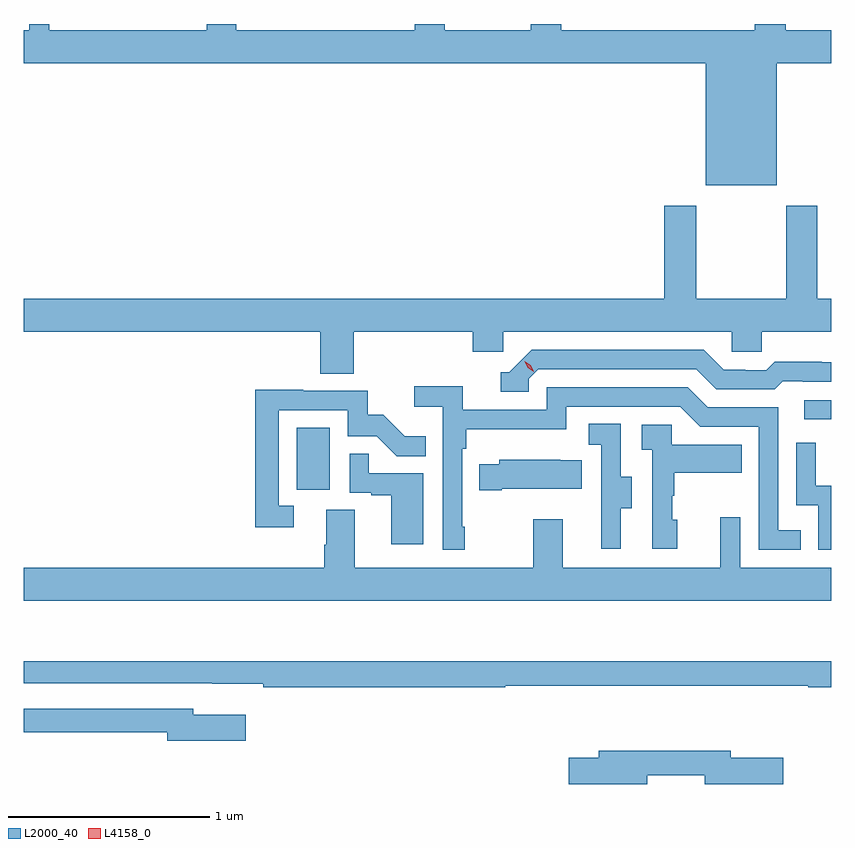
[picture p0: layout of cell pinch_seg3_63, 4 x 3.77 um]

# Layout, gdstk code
import gdstk
lib = gdstk.Library(unit=1e-6, precision=1e-09)
def R(c, l, rs):  # rectangles x0, y0, x1, y1
    for r in rs: c.add(gdstk.rectangle(r[:2], r[2:], *l))
def P(c, l, *ps):  # polygons
    for p in ps: c.add(gdstk.Polygon(p, *l))
L2000_40 = (2000, 40)
L4158_0 = (4158, 0)

pinch_seg3_63 = lib.new_cell('pinch_seg3_63')
R(pinch_seg3_63, L2000_40, [(1025.126,729.438,1025.29,729.745), (1027.641,729.786,1027.774,729.882)])
P(pinch_seg3_63, L2000_40, [(1027.504,731.552),(1027.774,731.552),(1027.774,731.716),(1027.55,731.716),(1027.55,731.746),(1027.397,731.746),(1027.397,731.716),(1026.437,731.716),(1026.437,731.746),(1026.286,731.746),(1026.286,731.716),(1025.859,731.716),(1025.859,731.746),(1025.711,731.746),(1025.711,731.716),(1024.827,731.716),(1024.827,731.746),(1024.679,731.746),(1024.679,731.716),(1023.899,731.716),(1023.899,731.746),(1023.801,731.746),(1023.801,731.716),(1023.774,731.716),(1023.774,731.552),(1027.154,731.552),(1027.154,730.946),(1027.504,730.946)],
  [(1025.408,730.22),(1025.999,730.22),(1025.999,730.122),(1026.15,730.122),(1026.15,730.22),(1027.281,730.22),(1027.281,730.122),(1027.431,730.122),(1027.431,730.22),(1027.774,730.22),(1027.774,730.384),(1027.707,730.384),(1027.707,730.846),(1027.552,730.846),(1027.552,730.384),(1027.107,730.384),(1027.107,730.846),(1026.947,730.846),(1026.947,730.384),(1023.774,730.384),(1023.774,730.22),(1025.243,730.22),(1025.243,730.012),(1025.408,730.012)],
  [(1026.276,729.987),(1026.324,730.035),(1027.107,730.035),(1027.206,729.936),(1027.495,729.936),(1027.534,729.975),(1027.633,729.975),(1027.633,729.972),(1027.774,729.972),(1027.774,730.069),(1027.728,730.069),(1027.728,730.072),(1027.495,730.072),(1027.453,730.029),(1027.35,730.029),(1027.35,730.032),(1027.243,730.032),(1027.144,730.131),(1026.291,730.131),(1026.18,730.02),(1026.137,730.02),(1026.137,729.924),(1026.276,729.924)],
  [(1025.959,729.253),(1025.946,729.253),(1025.946,729.641),(1025.966,729.641),(1025.966,729.737),(1026.462,729.737),(1026.462,729.849),(1027.026,729.849),(1027.125,729.75),(1027.416,729.75),(1027.416,729.141),(1027.625,729.141),(1027.625,729.237),(1027.512,729.237),(1027.512,729.846),(1027.162,729.846),(1027.063,729.945),(1026.366,729.945),(1026.366,729.834),(1025.948,729.834),(1025.948,729.95),(1025.709,729.95),(1025.709,729.848),(1025.85,729.848),(1025.85,729.141),(1025.959,729.141)],
  [(1025.11,729.357),(1025.037,729.357),(1025.037,729.831),(1025.379,729.831),(1025.379,729.702),(1025.523,729.702),(1025.621,729.604),(1025.765,729.604),(1025.765,729.703),(1025.661,729.703),(1025.554,729.81),(1025.478,729.81),(1025.478,729.927),(1025.159,729.927),(1025.159,729.932),(1024.921,729.932),(1024.921,729.252),(1025.11,729.252)],
  [(1026.733,729.346),(1026.787,729.346),(1026.787,729.501),(1026.732,729.501),(1026.732,729.764),(1026.573,729.764),(1026.573,729.661),(1026.636,729.661),(1026.636,729.357),(1026.635,729.357),(1026.635,729.144),(1026.733,729.144)],
  [(1027.012,729.288),(1026.987,729.288),(1026.987,729.407),(1026.997,729.407),(1026.997,729.521),(1027.331,729.521),(1027.331,729.661),(1026.984,729.661),(1026.984,729.759),(1026.837,729.759),(1026.837,729.635),(1026.888,729.635),(1026.888,729.144),(1027.012,729.144)],
  [(1027.774,729.458),(1027.698,729.458),(1027.698,729.67),(1027.602,729.67),(1027.602,729.36),(1027.71,729.36),(1027.71,729.141),(1027.774,729.141)],
  [(1025.752,729.519),(1025.483,729.519),(1025.483,729.617),(1025.388,729.617),(1025.388,729.423),(1025.495,729.423),(1025.495,729.411),(1025.594,729.411),(1025.594,729.168),(1025.752,729.168)],
  [(1026.142,729.443),(1026.539,729.443),(1026.539,729.583),(1026.431,729.583),(1026.431,729.586),(1026.129,729.586),(1026.129,729.565),(1026.031,729.565),(1026.031,729.436),(1026.142,729.436)],
  [(1027.774,729.052),(1027.323,729.052),(1027.323,729.301),(1027.226,729.301),(1027.226,729.052),(1026.445,729.052),(1026.445,729.292),(1026.298,729.292),(1026.298,729.052),(1025.413,729.052),(1025.413,729.338),(1025.273,729.338),(1025.273,729.164),(1025.261,729.164),(1025.261,729.052),(1023.774,729.052),(1023.774,728.888),(1027.774,728.888)],
  [(1026.16,728.466),(1027.66,728.466),(1027.66,728.458),(1027.774,728.458),(1027.774,728.587),(1023.774,728.587),(1023.774,728.478),(1024.708,728.478),(1024.708,728.477),(1024.96,728.477),(1024.96,728.458),(1026.16,728.458)],
  [(1024.873,728.323),(1024.612,728.323),(1024.612,728.352),(1023.774,728.352),(1023.774,728.236),(1024.484,728.236),(1024.484,728.194),(1024.873,728.194)],
  [(1026.862,728.022),(1027.148,728.022),(1027.148,727.979),(1027.537,727.979),(1027.537,728.109),(1027.276,728.109),(1027.276,728.143),(1026.623,728.143),(1026.623,728.109),(1026.474,728.109),(1026.474,727.979),(1026.862,727.979)])
P(pinch_seg3_63, L4158_0, [(1026.3,730.022),(1026.27,730.042),(1026.255,730.074),(1026.255,730.075),(1026.255,730.075),(1026.285,730.055),(1026.301,730.022),(1026.301,730.022)])

lib.write_gds('pinch_seg3_63.gds')
